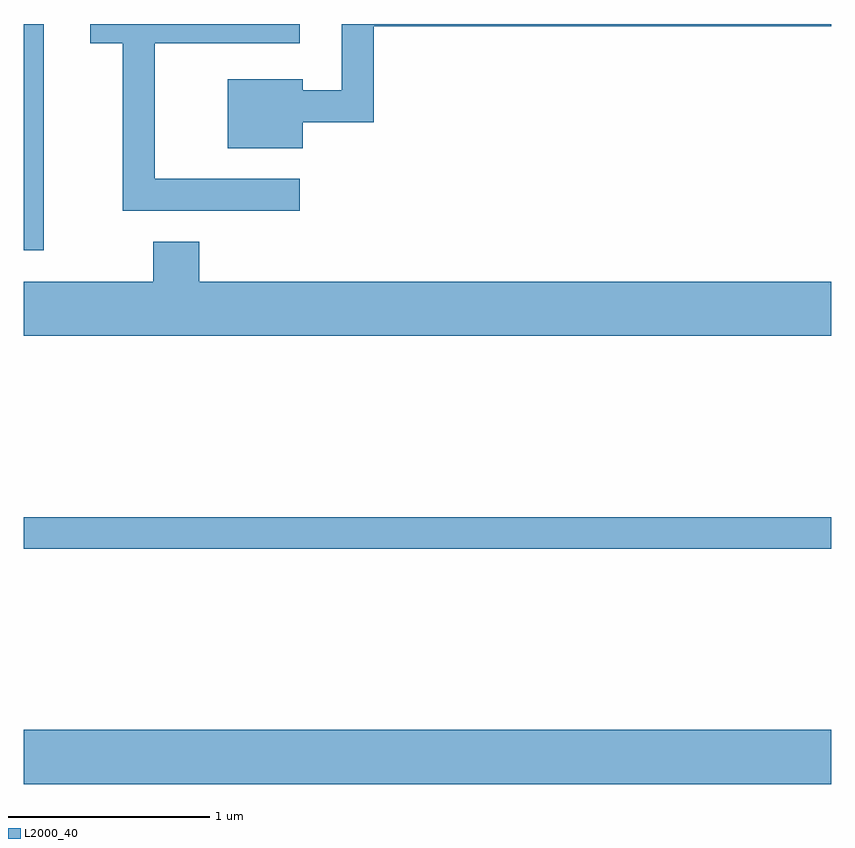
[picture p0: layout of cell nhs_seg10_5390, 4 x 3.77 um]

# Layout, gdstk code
import gdstk
lib = gdstk.Library(unit=1e-6, precision=1e-09)
def R(c, l, rs):  # rectangles x0, y0, x1, y1
    for r in rs: c.add(gdstk.rectangle(r[:2], r[2:], *l))
def P(c, l, *ps):  # polygons
    for p in ps: c.add(gdstk.Polygon(p, *l))
L2000_40 = (2000, 40)

nhs_seg10_5390 = lib.new_cell('nhs_seg10_5390')
R(nhs_seg10_5390, L2000_40, [(343.611,2162.756,347.611,2163.024), (343.611,2163.921,347.611,2164.079), (343.611,2165.401,343.709,2166.522)])
P(nhs_seg10_5390, L2000_40, [(344.994,2166.036),(345.344,2166.036),(345.344,2166.511),(347.611,2166.511),(347.611,2166.522),(345.186,2166.522),(345.186,2166.194),(344.994,2166.194),(344.994,2166.249),(344.621,2166.249),(344.621,2165.906),(344.994,2165.906)],
  [(344.978,2165.754),(344.259,2165.754),(344.259,2166.426),(344.978,2166.426),(344.978,2166.522),(343.941,2166.522),(343.941,2166.426),(344.101,2166.426),(344.101,2165.596),(344.978,2165.596)],
  [(347.611,2165.244),(344.479,2165.244),(344.479,2165.444),(344.251,2165.444),(344.251,2165.244),(343.611,2165.244),(343.611,2164.976),(347.611,2164.976)])

lib.write_gds('nhs_seg10_5390.gds')
